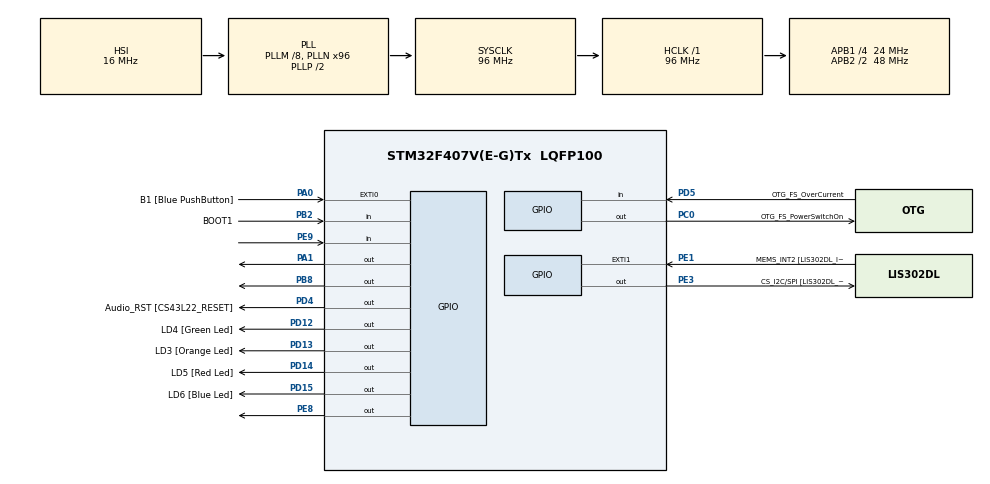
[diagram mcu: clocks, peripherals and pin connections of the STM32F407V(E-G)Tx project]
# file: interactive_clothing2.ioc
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Mcu.Family=STM32F4
Mcu.Name=STM32F407V(E-G)Tx
Mcu.Package=LQFP100
NVIC.PriorityGroup=NVIC_PRIORITYGROUP_0
PA0-WKUP.GPIO_Label=B1 [Blue PushButton]
PA0-WKUP.Signal=GPXTI0
PA1.Signal=GPIO_Output
PA10.GPIO_Label=OTG_FS_ID
PA10.GPIO_Mode=GPIO_MODE_AF_PP
PA10.GPIO_PuPd=GPIO_NOPULL
PA10.GPIO_Speed=GPIO_SPEED_FREQ_LOW
PA10.Signal=USB_OTG_FS_ID
PA11.GPIO_Label=OTG_FS_DM
PA11.GPIO_Mode=GPIO_MODE_AF_PP
PA11.GPIO_PuPd=GPIO_NOPULL
PA11.GPIO_Speed=GPIO_SPEED_FREQ_LOW
PA11.Signal=USB_OTG_FS_DM
PA12.GPIO_Label=OTG_FS_DP
PA12.GPIO_Mode=GPIO_MODE_AF_PP
PA12.GPIO_PuPd=GPIO_NOPULL
PA12.GPIO_Speed=GPIO_SPEED_FREQ_LOW
PA12.Signal=USB_OTG_FS_DP
PA13.GPIO_Label=SWDIO
PA13.Mode=Serial_Wire
PA13.Signal=SYS_JTMS-SWDIO
PA14.GPIO_Label=SWCLK
PA14.Mode=Serial_Wire
PA14.Signal=SYS_JTCK-SWCLK
PA4.GPIO_Label=I2S3_WS [CS43L22_LRCK]
PA4.GPIO_Mode=GPIO_MODE_AF_PP
PA4.GPIO_PuPd=GPIO_NOPULL
PA4.GPIO_Speed=GPIO_SPEED_FREQ_LOW
PA4.Signal=I2S3_WS
PA5.GPIO_Label=SPI1_SCK [LIS302DL_SCL/SPC]
PA5.GPIO_Mode=GPIO_MODE_AF_PP
PA5.GPIO_PuPd=GPIO_NOPULL
PA5.GPIO_Speed=GPIO_SPEED_FREQ_LOW
PA5.Signal=SPI1_SCK
PA6.GPIO_Label=SPI1_MISO [LIS302DL_SDO]
PA6.GPIO_Mode=GPIO_MODE_AF_PP
PA6.GPIO_PuPd=GPIO_NOPULL
PA6.GPIO_Speed=GPIO_SPEED_FREQ_LOW
PA6.Signal=SPI1_MISO
PA7.GPIO_Label=SPI1_MOSI [LIS302DL_SDA/SDI/SDO]
PA7.GPIO_Mode=GPIO_MODE_AF_PP
PA7.GPIO_PuPd=GPIO_NOPULL
PA7.GPIO_Speed=GPIO_SPEED_FREQ_LOW
PA7.Signal=SPI1_MOSI
PA9.GPIO_Label=VBUS_FS
PA9.GPIO_Mode=GPIO_MODE_INPUT
PA9.GPIO_PuPd=GPIO_NOPULL
PA9.Signal=USB_OTG_FS_VBUS
PB10.GPIO_Label=CLK_IN [MP45DT02_CLK]
PB10.GPIO_Mode=GPIO_MODE_AF_PP
PB10.GPIO_PuPd=GPIO_NOPULL
PB10.GPIO_Speed=GPIO_SPEED_FREQ_LOW
PB10.Signal=I2S2_CK
PB2.GPIO_Label=BOOT1
PB2.GPIO_Mode=GPIO_MODE_INPUT
PB2.GPIO_PuPd=GPIO_NOPULL
PB2.Signal=GPIO_Input
PB3.GPIO_Label=SWO
PB3.Signal=SYS_JTDO-SWO
PB6.GPIO_Label=Audio_SCL [CS43L22_SCL]
PB6.GPIO_Mode=GPIO_MODE_AF_OD
PB6.GPIO_PuPd=GPIO_NOPULL
PB6.GPIO_Speed=GPIO_SPEED_FREQ_LOW
PB6.Signal=I2C1_SCL
PB8.Signal=GPIO_Output
PB9.GPIO_Label=Audio_SDA [CS43L22_SDA]
PB9.GPIO_Mode=GPIO_MODE_AF_OD
PB9.GPIO_PuPd=GPIO_NOPULL
PB9.GPIO_Speed=GPIO_SPEED_FREQ_LOW
PB9.Signal=I2C1_SDA
PC0.GPIO_Label=OTG_FS_PowerSwitchOn
PC0.GPIO_PuPd=GPIO_NOPULL
PC0.GPIO_Speed=GPIO_SPEED_FREQ_LOW
PC0.PinState=GPIO_PIN_SET
PC0.Signal=GPIO_Output
PC10.GPIO_Label=I2S3_SCK [CS43L22_SCLK]
PC10.GPIO_Mode=GPIO_MODE_AF_PP
PC10.GPIO_PuPd=GPIO_NOPULL
PC10.GPIO_Speed=GPIO_SPEED_FREQ_LOW
PC10.Signal=I2S3_CK
PC12.GPIO_Label=I2S3_SD [CS43L22_SDIN]
PC12.GPIO_Mode=GPIO_MODE_AF_PP
PC12.GPIO_PuPd=GPIO_NOPULL
PC12.GPIO_Speed=GPIO_SPEED_FREQ_LOW
PC12.Signal=I2S3_SD
PC14-OSC32_IN.GPIO_Label=PC14-OSC32_IN
PC14-OSC32_IN.Mode=LSE-External-Oscillator
PC14-OSC32_IN.Signal=RCC_OSC32_IN
PC15-OSC32_OUT.GPIO_Label=PC15-OSC32_OUT
PC15-OSC32_OUT.Mode=LSE-External-Oscillator
PC15-OSC32_OUT.Signal=RCC_OSC32_OUT
PC3.GPIO_Label=PDM_OUT [MP45DT02_DOUT]
PC3.GPIO_Mode=GPIO_MODE_AF_PP
PC3.GPIO_PuPd=GPIO_NOPULL
PC3.GPIO_Speed=GPIO_SPEED_FREQ_LOW
PC3.Signal=I2S2_SD
PC7.GPIO_Label=I2S3_MCK [CS43L22_MCLK]
PC7.GPIO_Mode=GPIO_MODE_AF_PP
PC7.GPIO_PuPd=GPIO_NOPULL
PC7.GPIO_Speed=GPIO_SPEED_FREQ_LOW
PC7.Signal=I2S3_MCK
PD12.GPIO_Label=LD4 [Green Led]
PD12.GPIO_PuPd=GPIO_NOPULL
PD12.GPIO_Speed=GPIO_SPEED_FREQ_LOW
PD12.Signal=GPIO_Output
PD13.GPIO_Label=LD3 [Orange Led]
PD13.GPIO_PuPd=GPIO_NOPULL
PD13.GPIO_Speed=GPIO_SPEED_FREQ_LOW
PD13.Signal=GPIO_Output
PD14.GPIO_Label=LD5 [Red Led]
PD14.GPIO_PuPd=GPIO_NOPULL
PD14.GPIO_Speed=GPIO_SPEED_FREQ_LOW
PD14.Signal=GPIO_Output
PD15.GPIO_Label=LD6 [Blue Led]
PD15.GPIO_PuPd=GPIO_NOPULL
PD15.GPIO_Speed=GPIO_SPEED_FREQ_LOW
PD15.Signal=GPIO_Output
PD4.GPIO_Label=Audio_RST [CS43L22_RESET]
PD4.GPIO_PuPd=GPIO_NOPULL
PD4.GPIO_Speed=GPIO_SPEED_FREQ_LOW
PD4.Signal=GPIO_Output
PD5.GPIO_Label=OTG_FS_OverCurrent
PD5.GPIO_Mode=GPIO_MODE_INPUT
PD5.GPIO_PuPd=GPIO_NOPULL
PD5.Signal=GPIO_Input
PE1.GPIO_Label=MEMS_INT2 [LIS302DL_INT2]
PE1.GPIO_ModeDefaultEXTI=GPIO_MODE_EVT_RISING
PE1.GPIO_PuPd=GPIO_NOPULL
PE1.Signal=GPXTI1
PE3.GPIO_Label=CS_I2C/SPI [LIS302DL_CS_I2C/SPI]
PE3.GPIO_PuPd=GPIO_NOPULL
PE3.GPIO_Speed=GPIO_SPEED_FREQ_LOW
PE3.Signal=GPIO_Output
PE8.Signal=GPIO_Output
PE9.Signal=GPIO_Input
PH0-OSC_IN.GPIO_Label=PH0-OSC_IN
PH0-OSC_IN.Mode=HSE-External-Oscillator
PH0-OSC_IN.Signal=RCC_OSC_IN
PH1-OSC_OUT.GPIO_Label=PH1-OSC_OUT
PH1-OSC_OUT.Mode=HSE-External-Oscillator
PH1-OSC_OUT.Signal=RCC_OSC_OUT
ProjectManager.HeapSize=0x200
ProjectManager.StackSize=0x400
ProjectManager.TargetToolchain=SW4STM32
RCC.48MHZClocksFreq_Value=27428571.42857143
RCC.AHBFreq_Value=96000000
RCC.APB1CLKDivider=RCC_HCLK_DIV4
RCC.APB1Freq_Value=24000000
RCC.APB1TimFreq_Value=48000000
RCC.APB2CLKDivider=RCC_HCLK_DIV2
RCC.APB2Freq_Value=48000000
RCC.APB2TimFreq_Value=96000000
RCC.CortexFreq_Value=96000000
RCC.HCLKFreq_Value=96000000
RCC.HSE_VALUE=8000000
RCC.HSI_VALUE=16000000
RCC.PLLM=8
RCC.PLLN=96
RCC.PLLQ=7
RCC.SYSCLKFreq_VALUE=96000000
RCC.SYSCLKSource=RCC_SYSCLKSOURCE_PLLCLK
RCC.VCOOutputFreq_Value=192000000
board=STM32F407G-DISC1

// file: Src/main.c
/* USER CODE BEGIN Header */
/**
  ******************************************************************************
  * @file           : main.c
  * @brief          : Main program body
  ******************************************************************************
  * @attention
  *
  * <h2><center>&copy; Copyright (c) 2019 STMicroelectronics.
  * All rights reserved.</center></h2>
  *
  * This software component is licensed by ST under BSD 3-Clause license,
  * the "License"; You may not use this file except in compliance with the
  * License. You may obtain a copy of the License at:
  *                        opensource.org/licenses/BSD-3-Clause
  *
  ******************************************************************************
  */
/* USER CODE END Header */

#include "main.h"
#include "gpio.h"

/* USER CODE BEGIN PD */
#define SystemCoreClockInMHz (SystemCoreClock/1000000);
/* USER CODE END PD */

void SystemClock_Config(void);

/* USER CODE BEGIN 0 */
void delay_L(void) {
    int useconds = 10;
    asm volatile("   mov r0, %[useconds]    \n"
                 "1: subs r0, #1            \n"
                 "   bhi 1b                 \n": :[useconds] "r" (useconds): "r0");
}
void delay_H(void) {
    int useconds = 20;
    asm volatile("   mov r0, %[useconds]    \n"
                 "1: subs r0, #1            \n"
                 "   bhi 1b                 \n":: [useconds] "r" (useconds): "r0");
}

inline void send_byte(int a) {
    for (int i = 7; i >= 0; i--) {
        int x = (a >> i) & 1;
        if (x == 1) {
        	GPIOB->BSRR = GPIO_PIN_8;
			delay_H();
			GPIOB->BSRR = (uint32_t) GPIO_PIN_8 << 16U;
			delay_L();
        } else {
			GPIOB->BSRR = GPIO_PIN_8;
			delay_L();
			GPIOB->BSRR = (uint32_t) GPIO_PIN_8 << 16U;
			delay_H();
        }
    }
}

void light(float distance) {
    distance = (int) distance;
    for (int i = 0; i < distance; i++) {
        int num = i % 7;
        if (num == 0) { //red
            send_byte(0x00);
            send_byte(0xFF);
            send_byte(0x00);
        } else if (num == 1) { //orange
             send_byte(0x45);
             send_byte(0xFF);
             send_byte(0x00);
        } else if (num == 2) { //yellow
            send_byte(0xFF);
            send_byte(0xFF);
            send_byte(0x00);
        } else if (num == 3) { //green
            send_byte(0xFF);
            send_byte(0x00);
            send_byte(0x00);
        } else if (num == 4) { //lightblue
            send_byte(0xBF);
            send_byte(0x00);
            send_byte(0xFF);
        } else if (num == 5) { //blue
            send_byte(0x00);
            send_byte(0x00);
            send_byte(0xFF);
        } else { //purple
            send_byte(0x2B);
            send_byte(0x8A);
            send_byte(0xE2);
        }
    }
    for (int i = distance; i < 61; i++) {
        send_byte(0x00);
        send_byte(0x00);
        send_byte(0x00);
    }
}

int DWT_Init(void) {
    CoreDebug->DEMCR |=  CoreDebug_DEMCR_TRCENA_Msk;
    DWT->CTRL |=  SysTick_CTRL_ENABLE_Msk;
    DWT->CYCCNT = 0;
    uint32_t before = DWT->CYCCNT;
    __NOP();
    __NOP();
    return (DWT->CYCCNT - before);
}

inline void udelay_DWT (uint32_t useconds) {
    useconds *= SystemCoreClockInMHz;
    while( DWT->CYCCNT < useconds){}
}

inline uint32_t get_DWT_cycles()
{
    return DWT->CYCCNT;
}

inline uint32_t get_DWT_us()
{
    return get_DWT_cycles()/SystemCoreClockInMHz;
}

inline void reset_DWT_cycles()
{
    DWT->CYCCNT = 0;
}

inline uint32_t get_us(){
    return get_DWT_us();
}

inline void udelay (uint32_t useconds){
    udelay_DWT(useconds);
}
/* USER CODE END 0 */

int main(void)
{

  /* MCU Configuration--------------------------------------------------------*/

  /* Reset of all peripherals, Initializes the Flash interface and the Systick. */
  HAL_Init();

  /* Configure the system clock */
  SystemClock_Config();

  /* Initialize all configured peripherals */
  MX_GPIO_Init();
  /* USER CODE BEGIN 2 */
  DWT_Init();
  /* USER CODE END 2 */

  /* Infinite loop */
  /* USER CODE BEGIN WHILE */
  HAL_GPIO_WritePin(GPIOA, GPIO_PIN_1, GPIO_PIN_SET);
  int distance_cm;
    HAL_Delay(100);
    HAL_GPIO_WritePin(GPIOE, GPIO_PIN_8, GPIO_PIN_RESET);
        while (1)
        {
            while(HAL_GPIO_ReadPin(GPIOE, GPIO_PIN_8) == GPIO_PIN_SET )
            {
                HAL_Delay(100);
            }
            HAL_GPIO_WritePin(GPIOE, GPIO_PIN_8, GPIO_PIN_SET);
            if ( HAL_GPIO_ReadPin(GPIOE, GPIO_PIN_8) != GPIO_PIN_SET )
            {
                HAL_GPIO_WritePin(GPIOE, GPIO_PIN_8, GPIO_PIN_RESET);
                HAL_Delay(100);
                continue;
            }
            udelay(16);
            HAL_GPIO_WritePin(GPIOE, GPIO_PIN_8, GPIO_PIN_RESET);
            if ( HAL_GPIO_ReadPin(GPIOE, GPIO_PIN_8) != GPIO_PIN_RESET )
            {
                HAL_GPIO_WritePin(GPIOE, GPIO_PIN_8, GPIO_PIN_RESET);
                HAL_Delay(100);
                continue;
            }
            if ( HAL_GPIO_ReadPin(GPIOE, GPIO_PIN_9) == GPIO_PIN_SET )
            {
                HAL_Delay(100);
                continue;
            }

            uint32_t watchdog_begin = get_us();
            int didnt_had_1_at_echo = 0;
            while(HAL_GPIO_ReadPin(GPIOE, GPIO_PIN_9) == GPIO_PIN_RESET )
            {
                if( get_us() - watchdog_begin > 5000 )
                {
                    didnt_had_1_at_echo = 1;
                    break;
                }
            }
            if(didnt_had_1_at_echo)
            {
                HAL_Delay(100);
                continue;
            }

            uint32_t before = get_us();
            int didnt_had_0_at_echo = 0;
            while(HAL_GPIO_ReadPin(GPIOE, GPIO_PIN_9) == GPIO_PIN_SET )
            {
                if( get_us() - watchdog_begin > 5000 )
                {
                    didnt_had_0_at_echo = 1;
                    break;
                }
            }
            if(didnt_had_0_at_echo)
            {
                HAL_Delay(100);
                continue;
            }

            uint32_t pulse_time = get_us()-before;
            uint32_t distance_mm = (int)((float)pulse_time/5.8);
            if(distance_mm > 30 && distance_mm < 5000) {
                if (distance_cm != distance_mm) {

                    light((float)distance_mm / 10.0);
                    distance_cm = distance_mm;
                }
                udelay(1000);
            }
    /* USER CODE END WHILE */

  }
}

void SystemClock_Config(void)
{
  RCC_OscInitTypeDef RCC_OscInitStruct = {0};
  RCC_ClkInitTypeDef RCC_ClkInitStruct = {0};

  /** Configure the main internal regulator output voltage
  */
  __HAL_RCC_PWR_CLK_ENABLE();
  __HAL_PWR_VOLTAGESCALING_CONFIG(PWR_REGULATOR_VOLTAGE_SCALE1);
  /** Initializes the CPU, AHB and APB busses clocks
  */
  RCC_OscInitStruct.OscillatorType = RCC_OSCILLATORTYPE_HSI;
  RCC_OscInitStruct.HSIState = RCC_HSI_ON;
  RCC_OscInitStruct.HSICalibrationValue = RCC_HSICALIBRATION_DEFAULT;
  RCC_OscInitStruct.PLL.PLLState = RCC_PLL_ON;
  RCC_OscInitStruct.PLL.PLLSource = RCC_PLLSOURCE_HSI;
  RCC_OscInitStruct.PLL.PLLM = 8;
  RCC_OscInitStruct.PLL.PLLN = 96;
  RCC_OscInitStruct.PLL.PLLP = RCC_PLLP_DIV2;
  RCC_OscInitStruct.PLL.PLLQ = 7;
  if (HAL_RCC_OscConfig(&RCC_OscInitStruct) != HAL_OK)
  {
    Error_Handler();
  }
  /** Initializes the CPU, AHB and APB busses clocks
  */
  RCC_ClkInitStruct.ClockType = RCC_CLOCKTYPE_HCLK|RCC_CLOCKTYPE_SYSCLK
                              |RCC_CLOCKTYPE_PCLK1|RCC_CLOCKTYPE_PCLK2;
  RCC_ClkInitStruct.SYSCLKSource = RCC_SYSCLKSOURCE_PLLCLK;
  RCC_ClkInitStruct.AHBCLKDivider = RCC_SYSCLK_DIV1;
  RCC_ClkInitStruct.APB1CLKDivider = RCC_HCLK_DIV4;
  RCC_ClkInitStruct.APB2CLKDivider = RCC_HCLK_DIV2;

  if (HAL_RCC_ClockConfig(&RCC_ClkInitStruct, FLASH_LATENCY_3) != HAL_OK)
  {
    Error_Handler();
  }
}

void Error_Handler(void)
{
}

/************************ (C) COPYRIGHT STMicroelectronics *****END OF FILE****/
